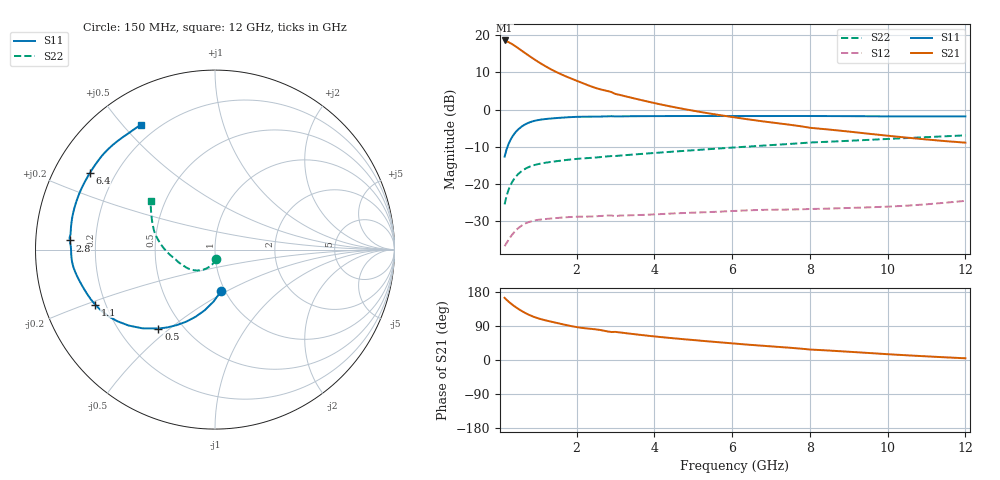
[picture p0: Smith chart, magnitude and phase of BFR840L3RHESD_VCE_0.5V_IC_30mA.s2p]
! Infineon Technologies  Discrete & RF Semiconductors
! BFR840L3RHESD
! VCE =  0.5 V,  IC =  30 mA
! Common Emitter S-Parameters:  Jun 2012
# GHz  S  MA  R  50
!  f  S11  S21  S12  S22
! GHz  MAG  ANG  MAG  ANG  MAG  ANG  MAG  ANG
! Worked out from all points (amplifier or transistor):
!   91 points, 150 MHz to 12 GHz, reference 50 ohm
!   highest |S21| = 18.6 dB at 150 MHz (marker M1)
!   |S21| within 3 dB of that: start of sweep to 624.8 MHz
!   unconditionally stable (mu >= 1): start of sweep to end of sweep
!   at 1.3 GHz: K = 1.72, MAG = 15.2 dB, |S12| = -29.3 dB
!   at 4.3 GHz: K = 3.47, MAG = 6.2 dB, |S12| = -28.0 dB
!   at 12 GHz: K = 6.72, MAG = -3.4 dB, |S12| = -24.5 dB
!   S11 on the Smith chart (normalised r, x): 150 MHz: 0.96, -0.47; 500 MHz: 0.37, -0.46; 1.1 GHz: 0.16, -0.21; 2.8 GHz: 0.10, +0.03; 6.4 GHz: 0.11, +0.28; 12 GHz: 0.14, +0.56
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0.15  0.2329 -81.3  8.473 164.0  0.0146 24.9  0.0532 -82.7
0.2  0.2904 -91.7  8.28 158.9  0.0161 28.5  0.069 -92.8
0.3  0.3902 -106.2  7.794 150.0  0.0194 31.6  0.0961 -106.1
0.4  0.4727 -117.0  7.237 142.1  0.0226 31.7  0.1181 -115.6
0.5  0.541 -125.6  6.669 135.0  0.0255 30.7  0.136 -123.2
0.6  0.5966 -132.7  6.126 128.7  0.0279 29.2  0.1505 -129.4
0.7  0.6409 -138.7  5.627 123.0  0.0298 27.6  0.1622 -134.6
0.8  0.6752 -143.8  5.177 118.1  0.0311 26.1  0.1714 -138.9
0.9  0.7011 -148.1  4.774 113.9  0.0322 24.7  0.1786 -142.6
1.1  0.7345 -155.3  4.099 107.3  0.0334 22.4  0.1889 -148.3
1.3  0.7542 -160.9  3.569 102.2  0.0342 20.7  0.1963 -152.5
1.6  0.7762 -167.4  2.983 95.3  0.0353 19.2  0.206 -157.2
1.9  0.7934 -172.4  2.561 88.7  0.0361 18.4  0.2146 -160.8
2.2  0.8009 -176.7  2.218 84.0  0.0364 17.9  0.2211 -163.7
2.8  0.811 176.4  1.772 75.3  0.0377 18.9  0.235 -168.1
3.3  0.8118 171.3  1.487 70.4  0.0378 19.2  0.2449 -171.4
4.2  0.8168 163.8  1.161 60.2  0.0395 20.4  0.2653 -176.6
6.1  0.8174 150.5  0.78 43.1  0.0435 23.7  0.3104 172.7
6.4  0.8174 148.6  0.74 40.6  0.0442 23.7  0.3178 171.0
8.5  0.8168 136.4  0.538 24.9  0.0467 25.7  0.3698 159.1
10.5  0.8078 126.8  0.419 12.4  0.0511 30.3  0.414 149.3
12  0.8094 120.8  0.359 4.5  0.0593 32.6  0.4497 142.8
